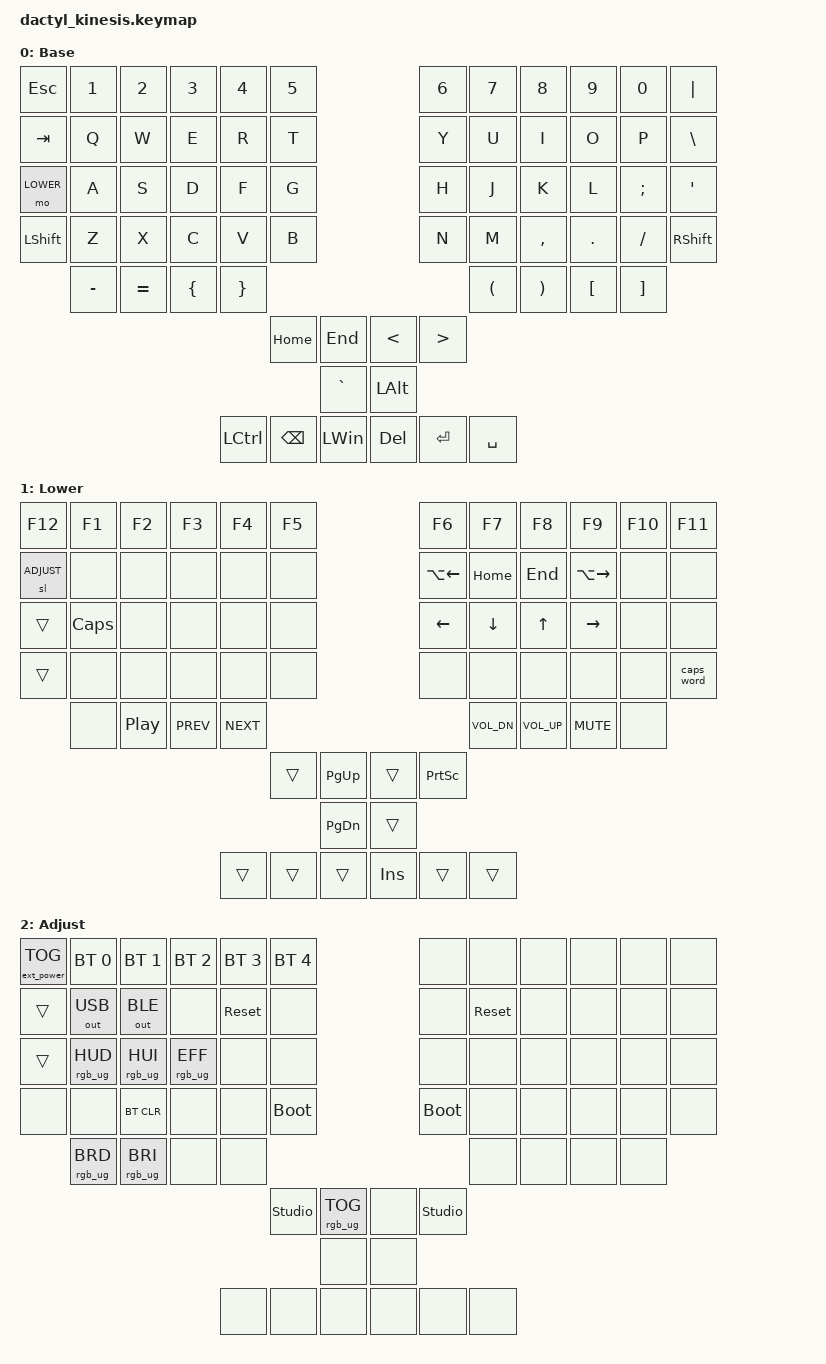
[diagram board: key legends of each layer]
#include <behaviors.dtsi>
#include <dt-bindings/zmk/bt.h>
#include <dt-bindings/zmk/ext_power.h>
#include <dt-bindings/zmk/keys.h>
#include <dt-bindings/zmk/outputs.h>
#include <dt-bindings/zmk/rgb.h>

#define DEFAULT 0
#define LOWER   1
#define ADJUST  2

&sl { release-after-ms = <5000>; };

&caps_word {
    continue-list = <UNDERSCORE BACKSPACE DELETE>;
    mods = <(MOD_RSFT|MOD_LSFT)>;
};

&kscan0 {
    debounce-press-ms = <30>;
    debounce-release-ms = <30>;
};

/ {
    keymap {
        compatible = "zmk,keymap";

        default_layer {
            display-name = "Base";
            bindings = <
&kp ESC    &kp N1     &kp N2     &kp N3    &kp N4     &kp N5                                      &kp N6            &kp N7                &kp N8                 &kp N9    &kp N0    &kp PIPE
&kp TAB    &kp Q      &kp W      &kp E     &kp R      &kp T                                       &kp Y             &kp U                 &kp I                  &kp O     &kp P     &kp BSLH
&mo LOWER  &kp A      &kp S      &kp D     &kp F      &kp G                                       &kp H             &kp J                 &kp K                  &kp L     &kp SEMI  &kp SQT
&kp LSHFT  &kp Z      &kp X      &kp C     &kp V      &kp B                                       &kp N             &kp M                 &kp COMMA              &kp DOT   &kp FSLH  &kp RSHFT
           &kp MINUS  &kp EQUAL  &kp LBRC  &kp RBRC                                                                 &kp LEFT_PARENTHESIS  &kp RIGHT_PARENTHESIS  &kp LBKT  &kp RBKT
                                                      &kp HOME       &kp END       &kp LESS_THAN  &kp GREATER_THAN
                                                                     &kp GRAVE     &kp LEFT_ALT
                                           &kp LCTRL  &kp BACKSPACE  &kp LEFT_WIN  &kp DEL        &kp RET           &kp SPACE
            >;
        };

        lower_layer {
            display-name = "Lower";
            bindings = <
&kp F12     &kp F1    &kp F2    &kp F3      &kp F4      &kp F5                          &kp F6           &kp F7        &kp F8        &kp F9         &kp F10  &kp F11
&sl ADJUST  &none     &none     &none       &none       &none                           &kp LA(LEFT)     &kp HOME      &kp END       &kp LA(RIGHT)  &none    &none
&trans      &kp CAPS  &none     &none       &none       &none                           &kp LEFT         &kp DOWN      &kp UP        &kp RIGHT      &none    &none
&trans      &none     &none     &none       &none       &none                           &none            &none         &none         &none          &none    &caps_word
            &none     &kp C_PP  &kp C_PREV  &kp C_NEXT                                                   &kp C_VOL_DN  &kp C_VOL_UP  &kp C_MUTE     &none
                                                        &trans  &kp PAGE_UP    &trans   &kp PRINTSCREEN
                                                                &kp PAGE_DOWN  &trans
                                            &trans      &trans  &trans         &kp INS  &trans           &trans
            >;
        };

        adjust_layer {
            display-name = "Adjust";
            bindings = <
&ext_power EP_TOG  &bt BT_SEL 0     &bt BT_SEL 1     &bt BT_SEL 2     &bt BT_SEL 3  &bt BT_SEL 4                            &none           &none       &none  &none  &none  &none
&trans             &out OUT_USB     &out OUT_BLE     &none            &sys_reset    &none                                   &none           &sys_reset  &none  &none  &none  &none
&trans             &rgb_ug RGB_HUD  &rgb_ug RGB_HUI  &rgb_ug RGB_EFF  &none         &none                                   &none           &none       &none  &none  &none  &none
&none              &none            &bt BT_CLR       &none            &none         &bootloader                             &bootloader     &none       &none  &none  &none  &none
                   &rgb_ug RGB_BRD  &rgb_ug RGB_BRI  &none            &none                                                                 &none       &none  &none  &none
                                                                                    &studio_unlock  &rgb_ug RGB_TOG  &none  &studio_unlock
                                                                                                    &none            &none
                                                                      &none         &none           &none            &none  &none           &none
            >;
        };
    };
};
